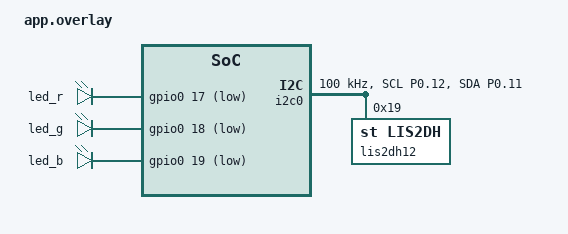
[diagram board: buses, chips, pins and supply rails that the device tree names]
/ {
	aliases {
		led-red = &led_r;
		led-green = &led_g;
		led-blue = &led_b;
		accel0 = &lis2dh12;
	};

	gpio-leds {
		compatible = "gpio-leds";

		led_r: led-r {
			gpios = <&gpio0 17 GPIO_ACTIVE_LOW>;
		};
		led_g: led-g {
			gpios = <&gpio0 18 GPIO_ACTIVE_LOW>;
		};
		led_b: led-b {
			gpios = <&gpio0 19 GPIO_ACTIVE_LOW>;
		};
	};
};

&pinctrl {
	i2c0_default: i2c0_default {
		group1 {
			psels = <NRF_PSEL(TWIM_SCL, 0, 12)>,
				<NRF_PSEL(TWIM_SDA, 0, 11)>;
			bias-pull-up;
		};
	};

	i2c0_sleep: i2c0_sleep {
		group1 {
			psels = <NRF_PSEL(TWIM_SCL, 0, 12)>,
				<NRF_PSEL(TWIM_SDA, 0, 11)>;
			bias-pull-up;
			low-power-enable;
		};
	};
};

&i2c0 {
	compatible = "nordic,nrf-twim";
	status = "okay";
	pinctrl-0 = <&i2c0_default>;
	pinctrl-1 = <&i2c0_sleep>;
	pinctrl-names = "default", "sleep";
	clock-frequency = <I2C_BITRATE_STANDARD>;

	lis2dh12: lis2dh12@19 {
		compatible = "st,lis2dh";
		reg = <0x19>;
	};
};

&spi1 {
	status = "disabled";
};
